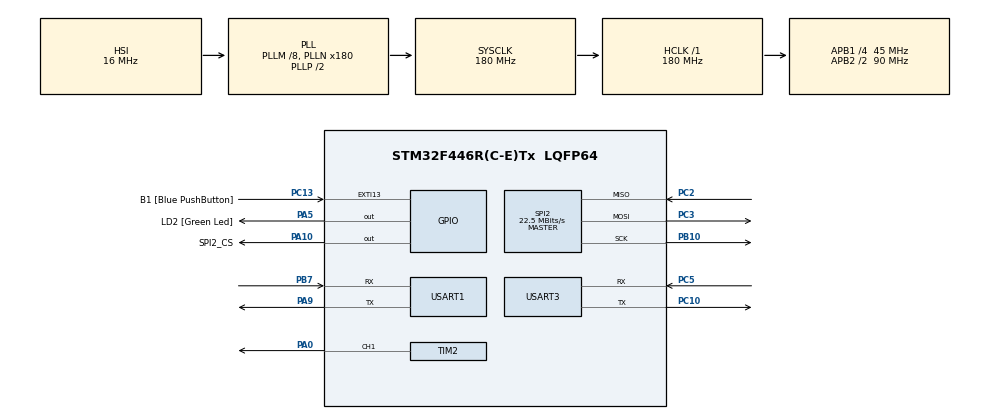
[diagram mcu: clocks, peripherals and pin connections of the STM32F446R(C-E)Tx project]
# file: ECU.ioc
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Dma.Request0=USART1_RX
Dma.Request1=USART3_RX
Dma.USART1_RX.0.Direction=DMA_PERIPH_TO_MEMORY
Dma.USART1_RX.0.FIFOMode=DMA_FIFOMODE_DISABLE
Dma.USART1_RX.0.Instance=DMA2_Stream2
Dma.USART1_RX.0.MemDataAlignment=DMA_MDATAALIGN_BYTE
Dma.USART1_RX.0.MemInc=DMA_MINC_ENABLE
Dma.USART1_RX.0.Mode=DMA_CIRCULAR
Dma.USART1_RX.0.PeriphDataAlignment=DMA_PDATAALIGN_BYTE
Dma.USART1_RX.0.PeriphInc=DMA_PINC_DISABLE
Dma.USART1_RX.0.Priority=DMA_PRIORITY_LOW
Dma.USART3_RX.1.Direction=DMA_PERIPH_TO_MEMORY
Dma.USART3_RX.1.FIFOMode=DMA_FIFOMODE_DISABLE
Dma.USART3_RX.1.Instance=DMA1_Stream1
Dma.USART3_RX.1.MemDataAlignment=DMA_MDATAALIGN_BYTE
Dma.USART3_RX.1.MemInc=DMA_MINC_ENABLE
Dma.USART3_RX.1.Mode=DMA_NORMAL
Dma.USART3_RX.1.PeriphDataAlignment=DMA_PDATAALIGN_BYTE
Dma.USART3_RX.1.PeriphInc=DMA_PINC_DISABLE
Dma.USART3_RX.1.Priority=DMA_PRIORITY_LOW
FREERTOS.Queues01=MAGdata,1,MAGNET,0,Static,MAGdataBuffer,MAGdataControlBlock;RCdata,1,RC,0,Static,RCdataBuffer,RCdataControlBlock
FREERTOS.Tasks01=TMTC,32,128,StartTMTC,Default,NULL,Static,TMTCBuffer,TMTCControlBlock;MAG,40,128,StartMAG,Default,NULL,Static,MAGBuffer,MAGControlBlock;myRC,32,128,StartRC,Default,NULL,Static,myRCBuffer,myRCControlBlock;ECU,8,128,StartECU,Default,NULL,Static,ECUBuffer,ECUControlBlock
FREERTOS.configUSE_NEWLIB_REENTRANT=1
Mcu.Family=STM32F4
Mcu.Name=STM32F446R(C-E)Tx
Mcu.Package=LQFP64
NVIC.DMA1_Stream1_IRQn=true\:5\:0\:false\:false\:true\:true\:false\:true\:true
NVIC.DMA2_Stream2_IRQn=true\:5\:0\:false\:false\:true\:true\:false\:true\:true
NVIC.PriorityGroup=NVIC_PRIORITYGROUP_4
NVIC.TIM1_UP_TIM10_IRQn=true\:15\:0\:false\:false\:true\:false\:false\:true\:true
NVIC.TIM3_IRQn=true\:5\:0\:false\:false\:true\:true\:true\:true\:true
NVIC.TimeBase=TIM1_UP_TIM10_IRQn
NVIC.TimeBaseIP=TIM1
PA0-WKUP.Signal=S_TIM2_CH1_ETR
PA10.GPIO_Label=SPI2_CS
PA10.GPIO_Speed=GPIO_SPEED_FREQ_LOW
PA10.PinState=GPIO_PIN_SET
PA10.Signal=GPIO_Output
PA13.GPIO_Label=TMS
PA13.Mode=Serial_Wire
PA13.Signal=SYS_JTMS-SWDIO
PA14.GPIO_Label=TCK
PA14.Mode=Serial_Wire
PA14.Signal=SYS_JTCK-SWCLK
PA5.GPIO_Label=LD2 [Green Led]
PA5.Signal=GPIO_Output
PA9.Mode=Asynchronous
PA9.Signal=USART1_TX
PB10.GPIO_Speed=GPIO_SPEED_FREQ_LOW
PB10.Mode=Full_Duplex_Master
PB10.Signal=SPI2_SCK
PB7.Mode=Asynchronous
PB7.Signal=USART1_RX
PC10.Mode=Asynchronous
PC10.Signal=USART3_TX
PC13.GPIO_Label=B1 [Blue PushButton]
PC13.GPIO_ModeDefaultEXTI=GPIO_MODE_IT_FALLING
PC13.Signal=GPXTI13
PC14-OSC32_IN.Mode=LSE-External-Oscillator
PC14-OSC32_IN.Signal=RCC_OSC32_IN
PC15-OSC32_OUT.Mode=LSE-External-Oscillator
PC15-OSC32_OUT.Signal=RCC_OSC32_OUT
PC2.GPIO_Speed=GPIO_SPEED_FREQ_LOW
PC2.Mode=Full_Duplex_Master
PC2.Signal=SPI2_MISO
PC3.GPIO_Speed=GPIO_SPEED_FREQ_LOW
PC3.Mode=Full_Duplex_Master
PC3.Signal=SPI2_MOSI
PC5.Mode=Asynchronous
PC5.Signal=USART3_RX
PH0-OSC_IN.Mode=HSE-External-Oscillator
PH0-OSC_IN.Signal=RCC_OSC_IN
PH1-OSC_OUT.Mode=HSE-External-Oscillator
PH1-OSC_OUT.Signal=RCC_OSC_OUT
ProjectManager.HeapSize=0x200
ProjectManager.StackSize=0x400
ProjectManager.TargetToolchain=STM32CubeIDE
RCC.48MHZClocksFreq_Value=84000000
RCC.AHBFreq_Value=180000000
RCC.APB1CLKDivider=RCC_HCLK_DIV4
RCC.APB1Freq_Value=45000000
RCC.APB1TimFreq_Value=90000000
RCC.APB2CLKDivider=RCC_HCLK_DIV2
RCC.APB2Freq_Value=90000000
RCC.APB2TimFreq_Value=180000000
RCC.CortexFreq_Value=180000000
RCC.FLatency-AdvancedSettings=FLASH_LATENCY_5
RCC.HCLKFreq_Value=180000000
RCC.HSE_VALUE=8000000
RCC.HSI_VALUE=16000000
RCC.PLLM=8
RCC.PLLN=180
RCC.SYSCLKFreq_VALUE=180000000
RCC.SYSCLKSource=RCC_SYSCLKSOURCE_PLLCLK
RCC.USBFreq_Value=180000000
RCC.VCOOutputFreq_Value=360000000
SH.S_TIM2_CH1_ETR.0=TIM2_CH1,PWM Generation1 CH1
SPI2.BaudRatePrescaler=SPI_BAUDRATEPRESCALER_2
SPI2.CLKPhase=SPI_PHASE_2EDGE
SPI2.CalculateBaudRate=22.5 MBits/s
SPI2.DataSize=SPI_DATASIZE_16BIT
SPI2.Direction=SPI_DIRECTION_2LINES
SPI2.Mode=SPI_MODE_MASTER
SPI2.VirtualType=VM_MASTER
TIM2.Channel-PWM\ Generation1\ CH1=TIM_CHANNEL_1
TIM2.Period=2500-1
TIM2.Prescaler=180-1
TIM3.Period=100-1
TIM3.Prescaler=18-1
USART1.VirtualMode=VM_ASYNC
USART3.VirtualMode=VM_ASYNC
VP_FREERTOS_VS_CMSIS_V2.Mode=CMSIS_V2
VP_SYS_VS_tim1.Mode=TIM1
VP_TIM3_VS_ClockSourceINT.Mode=Internal
board=NUCLEO-F446RE

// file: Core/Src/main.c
/* USER CODE BEGIN Header */
/**
  ******************************************************************************
  * @file           : main.c
  * @brief          : Main program body
  ******************************************************************************
  * @attention
  *
  * Copyright (c) 2022 STMicroelectronics.
  * All rights reserved.
  *
  * This software is licensed under terms that can be found in the LICENSE file
  * in the root directory of this software component.
  * If no LICENSE file comes with this software, it is provided AS-IS.
  *
  ******************************************************************************
  */
/* USER CODE END Header */
#include "main.h"
#include "cmsis_os.h"

typedef StaticTask_t osStaticThreadDef_t;
typedef StaticQueue_t osStaticMessageQDef_t;

/* USER CODE BEGIN PD */
//#define MOBILE
/* USER CODE END PD */

 SPI_HandleTypeDef hspi2;

TIM_HandleTypeDef htim2;
TIM_HandleTypeDef htim3;

UART_HandleTypeDef huart1;
UART_HandleTypeDef huart3;
DMA_HandleTypeDef hdma_usart1_rx;
DMA_HandleTypeDef hdma_usart3_rx;

/* Definitions for TMTC */
osThreadId_t TMTCHandle;
uint32_t TMTCBuffer[ 128 ];
osStaticThreadDef_t TMTCControlBlock;
const osThreadAttr_t TMTC_attributes = {
  .name = "TMTC",
  .cb_mem = &TMTCControlBlock,
  .cb_size = sizeof(TMTCControlBlock),
  .stack_mem = &TMTCBuffer[0],
  .stack_size = sizeof(TMTCBuffer),
  .priority = (osPriority_t) osPriorityAboveNormal,
};
/* Definitions for MAG */
osThreadId_t MAGHandle;
uint32_t MAGBuffer[ 128 ];
osStaticThreadDef_t MAGControlBlock;
const osThreadAttr_t MAG_attributes = {
  .name = "MAG",
  .cb_mem = &MAGControlBlock,
  .cb_size = sizeof(MAGControlBlock),
  .stack_mem = &MAGBuffer[0],
  .stack_size = sizeof(MAGBuffer),
  .priority = (osPriority_t) osPriorityHigh,
};
/* Definitions for myRC */
osThreadId_t myRCHandle;
uint32_t myRCBuffer[ 128 ];
osStaticThreadDef_t myRCControlBlock;
const osThreadAttr_t myRC_attributes = {
  .name = "myRC",
  .cb_mem = &myRCControlBlock,
  .cb_size = sizeof(myRCControlBlock),
  .stack_mem = &myRCBuffer[0],
  .stack_size = sizeof(myRCBuffer),
  .priority = (osPriority_t) osPriorityAboveNormal,
};
/* Definitions for ECU */
osThreadId_t ECUHandle;
uint32_t ECUBuffer[ 128 ];
osStaticThreadDef_t ECUControlBlock;
const osThreadAttr_t ECU_attributes = {
  .name = "ECU",
  .cb_mem = &ECUControlBlock,
  .cb_size = sizeof(ECUControlBlock),
  .stack_mem = &ECUBuffer[0],
  .stack_size = sizeof(ECUBuffer),
  .priority = (osPriority_t) osPriorityLow,
};
/* Definitions for MAGdata */
osMessageQueueId_t MAGdataHandle;
uint8_t MAGdataBuffer[ 1 * sizeof( MAGNET ) ];
osStaticMessageQDef_t MAGdataControlBlock;
const osMessageQueueAttr_t MAGdata_attributes = {
  .name = "MAGdata",
  .cb_mem = &MAGdataControlBlock,
  .cb_size = sizeof(MAGdataControlBlock),
  .mq_mem = &MAGdataBuffer,
  .mq_size = sizeof(MAGdataBuffer)
};
/* Definitions for RCdata */
osMessageQueueId_t RCdataHandle;
uint8_t RCdataBuffer[ 1 * sizeof( RC ) ];
osStaticMessageQDef_t RCdataControlBlock;
const osMessageQueueAttr_t RCdata_attributes = {
  .name = "RCdata",
  .cb_mem = &RCdataControlBlock,
  .cb_size = sizeof(RCdataControlBlock),
  .mq_mem = &RCdataBuffer,
  .mq_size = sizeof(RCdataBuffer)
};

void SystemClock_Config(void);
static void MX_GPIO_Init(void);
static void MX_DMA_Init(void);
static void MX_USART1_UART_Init(void);
static void MX_TIM2_Init(void);
static void MX_TIM3_Init(void);
static void MX_SPI2_Init(void);
static void MX_USART3_UART_Init(void);
void StartTMTC(void *argument);
void StartMAG(void *argument);
void StartRC(void *argument);
void StartECU(void *argument);

/* USER CODE BEGIN PFP */
float map(float target, float from_min, float from_max, float to_min, float to_max);

/* USER CODE END PFP */

/* USER CODE BEGIN 0 */
volatile unsigned long gTick = 0;

TELEM tx_pack = {0,};
TELEM rx_pack = {0,};

#define MOBILE
/* USER CODE END 0 */

int main(void)
{

  /* MCU Configuration--------------------------------------------------------*/

  /* Reset of all peripherals, Initializes the Flash interface and the Systick. */
  HAL_Init();

  /* Configure the system clock */
  SystemClock_Config();

  /* Initialize all configured peripherals */
  MX_GPIO_Init();
  MX_DMA_Init();
  MX_USART1_UART_Init();
  MX_TIM2_Init();
  MX_TIM3_Init();
  MX_SPI2_Init();
  MX_USART3_UART_Init();

  /* Init scheduler */
  osKernelInitialize();

  /* Create the queue(s) */
  /* creation of MAGdata */
  MAGdataHandle = osMessageQueueNew (1, sizeof(MAGNET), &MAGdata_attributes);

  /* creation of RCdata */
  RCdataHandle = osMessageQueueNew (1, sizeof(RC), &RCdata_attributes);

  /* Create the thread(s) */
  /* creation of TMTC */
  TMTCHandle = osThreadNew(StartTMTC, NULL, &TMTC_attributes);

  /* creation of MAG */
  MAGHandle = osThreadNew(StartMAG, NULL, &MAG_attributes);

  /* creation of myRC */
  myRCHandle = osThreadNew(StartRC, NULL, &myRC_attributes);

  /* creation of ECU */
  ECUHandle = osThreadNew(StartECU, NULL, &ECU_attributes);

  /* Start scheduler */
  osKernelStart();

  /* We should never get here as control is now taken by the scheduler */
  /* Infinite loop */
  while (1)
  {

  }
}

void SystemClock_Config(void)
{
  RCC_OscInitTypeDef RCC_OscInitStruct = {0};
  RCC_ClkInitTypeDef RCC_ClkInitStruct = {0};

  /** Configure the main internal regulator output voltage
  */
  __HAL_RCC_PWR_CLK_ENABLE();
  __HAL_PWR_VOLTAGESCALING_CONFIG(PWR_REGULATOR_VOLTAGE_SCALE1);

  /** Initializes the RCC Oscillators according to the specified parameters
  * in the RCC_OscInitTypeDef structure.
  */
  RCC_OscInitStruct.OscillatorType = RCC_OSCILLATORTYPE_HSI;
  RCC_OscInitStruct.HSIState = RCC_HSI_ON;
  RCC_OscInitStruct.HSICalibrationValue = RCC_HSICALIBRATION_DEFAULT;
  RCC_OscInitStruct.PLL.PLLState = RCC_PLL_ON;
  RCC_OscInitStruct.PLL.PLLSource = RCC_PLLSOURCE_HSI;
  RCC_OscInitStruct.PLL.PLLM = 8;
  RCC_OscInitStruct.PLL.PLLN = 180;
  RCC_OscInitStruct.PLL.PLLP = RCC_PLLP_DIV2;
  RCC_OscInitStruct.PLL.PLLQ = 2;
  RCC_OscInitStruct.PLL.PLLR = 2;
  if (HAL_RCC_OscConfig(&RCC_OscInitStruct) != HAL_OK)
  {
    Error_Handler();
  }

  /** Activate the Over-Drive mode
  */
  if (HAL_PWREx_EnableOverDrive() != HAL_OK)
  {
    Error_Handler();
  }

  /** Initializes the CPU, AHB and APB buses clocks
  */
  RCC_ClkInitStruct.ClockType = RCC_CLOCKTYPE_HCLK|RCC_CLOCKTYPE_SYSCLK
                              |RCC_CLOCKTYPE_PCLK1|RCC_CLOCKTYPE_PCLK2;
  RCC_ClkInitStruct.SYSCLKSource = RCC_SYSCLKSOURCE_PLLCLK;
  RCC_ClkInitStruct.AHBCLKDivider = RCC_SYSCLK_DIV1;
  RCC_ClkInitStruct.APB1CLKDivider = RCC_HCLK_DIV4;
  RCC_ClkInitStruct.APB2CLKDivider = RCC_HCLK_DIV2;

  if (HAL_RCC_ClockConfig(&RCC_ClkInitStruct, FLASH_LATENCY_5) != HAL_OK)
  {
    Error_Handler();
  }
}

static void MX_SPI2_Init(void)
{

  /* SPI2 parameter configuration*/
  hspi2.Instance = SPI2;
  hspi2.Init.Mode = SPI_MODE_MASTER;
  hspi2.Init.Direction = SPI_DIRECTION_2LINES;
  hspi2.Init.DataSize = SPI_DATASIZE_16BIT;
  hspi2.Init.CLKPolarity = SPI_POLARITY_LOW;
  hspi2.Init.CLKPhase = SPI_PHASE_2EDGE;
  hspi2.Init.NSS = SPI_NSS_SOFT;
  hspi2.Init.BaudRatePrescaler = SPI_BAUDRATEPRESCALER_2;
  hspi2.Init.FirstBit = SPI_FIRSTBIT_MSB;
  hspi2.Init.TIMode = SPI_TIMODE_DISABLE;
  hspi2.Init.CRCCalculation = SPI_CRCCALCULATION_DISABLE;
  hspi2.Init.CRCPolynomial = 10;
  if (HAL_SPI_Init(&hspi2) != HAL_OK)
  {
    Error_Handler();
  }

}

static void MX_TIM2_Init(void)
{

  TIM_MasterConfigTypeDef sMasterConfig = {0};
  TIM_OC_InitTypeDef sConfigOC = {0};

  htim2.Instance = TIM2;
  htim2.Init.Prescaler = 180-1;
  htim2.Init.CounterMode = TIM_COUNTERMODE_UP;
  htim2.Init.Period = 2500-1;
  htim2.Init.ClockDivision = TIM_CLOCKDIVISION_DIV1;
  htim2.Init.AutoReloadPreload = TIM_AUTORELOAD_PRELOAD_DISABLE;
  if (HAL_TIM_PWM_Init(&htim2) != HAL_OK)
  {
    Error_Handler();
  }
  sMasterConfig.MasterOutputTrigger = TIM_TRGO_RESET;
  sMasterConfig.MasterSlaveMode = TIM_MASTERSLAVEMODE_DISABLE;
  if (HAL_TIMEx_MasterConfigSynchronization(&htim2, &sMasterConfig) != HAL_OK)
  {
    Error_Handler();
  }
  sConfigOC.OCMode = TIM_OCMODE_PWM1;
  sConfigOC.Pulse = 0;
  sConfigOC.OCPolarity = TIM_OCPOLARITY_HIGH;
  sConfigOC.OCFastMode = TIM_OCFAST_DISABLE;
  if (HAL_TIM_PWM_ConfigChannel(&htim2, &sConfigOC, TIM_CHANNEL_1) != HAL_OK)
  {
    Error_Handler();
  }
  HAL_TIM_MspPostInit(&htim2);

}

static void MX_TIM3_Init(void)
{

  TIM_ClockConfigTypeDef sClockSourceConfig = {0};
  TIM_MasterConfigTypeDef sMasterConfig = {0};

  htim3.Instance = TIM3;
  htim3.Init.Prescaler = 18-1;
  htim3.Init.CounterMode = TIM_COUNTERMODE_UP;
  htim3.Init.Period = 100-1;
  htim3.Init.ClockDivision = TIM_CLOCKDIVISION_DIV1;
  htim3.Init.AutoReloadPreload = TIM_AUTORELOAD_PRELOAD_DISABLE;
  if (HAL_TIM_Base_Init(&htim3) != HAL_OK)
  {
    Error_Handler();
  }
  sClockSourceConfig.ClockSource = TIM_CLOCKSOURCE_INTERNAL;
  if (HAL_TIM_ConfigClockSource(&htim3, &sClockSourceConfig) != HAL_OK)
  {
    Error_Handler();
  }
  sMasterConfig.MasterOutputTrigger = TIM_TRGO_RESET;
  sMasterConfig.MasterSlaveMode = TIM_MASTERSLAVEMODE_DISABLE;
  if (HAL_TIMEx_MasterConfigSynchronization(&htim3, &sMasterConfig) != HAL_OK)
  {
    Error_Handler();
  }
  /* USER CODE BEGIN TIM3_Init 2 */

  HAL_TIM_Base_MspInit(&htim3);
  HAL_TIM_Base_Start_IT(&htim3);

  /* USER CODE END TIM3_Init 2 */

}

static void MX_USART1_UART_Init(void)
{

  huart1.Instance = USART1;
  huart1.Init.BaudRate = 115200;
  huart1.Init.WordLength = UART_WORDLENGTH_8B;
  huart1.Init.StopBits = UART_STOPBITS_1;
  huart1.Init.Parity = UART_PARITY_NONE;
  huart1.Init.Mode = UART_MODE_TX_RX;
  huart1.Init.HwFlowCtl = UART_HWCONTROL_NONE;
  huart1.Init.OverSampling = UART_OVERSAMPLING_16;
  if (HAL_UART_Init(&huart1) != HAL_OK)
  {
    Error_Handler();
  }
  /* USER CODE BEGIN USART1_Init 2 */

#ifdef MOBILE
  HAL_UART_Receive_DMA(&huart1, rx_pack.array, sizeof(Comm_struct)+2);
#else
	HAL_UART_Receive_DMA(&huart1, rx_pack.array, sizeof(Comm_struct));
#endif

  /* USER CODE END USART1_Init 2 */

}

static void MX_USART3_UART_Init(void)
{

  huart3.Instance = USART3;
  huart3.Init.BaudRate = 115200;
  huart3.Init.WordLength = UART_WORDLENGTH_8B;
  huart3.Init.StopBits = UART_STOPBITS_1;
  huart3.Init.Parity = UART_PARITY_NONE;
  huart3.Init.Mode = UART_MODE_TX_RX;
  huart3.Init.HwFlowCtl = UART_HWCONTROL_NONE;
  huart3.Init.OverSampling = UART_OVERSAMPLING_16;
  if (HAL_UART_Init(&huart3) != HAL_OK)
  {
    Error_Handler();
  }
  /* USER CODE BEGIN USART3_Init 2 */

	HAL_UART_Receive_DMA(&huart3,rc_byte_data, 16);

  /* USER CODE END USART3_Init 2 */

}

static void MX_DMA_Init(void)
{

  /* DMA controller clock enable */
  __HAL_RCC_DMA2_CLK_ENABLE();
  __HAL_RCC_DMA1_CLK_ENABLE();

  /* DMA interrupt init */
  /* DMA1_Stream1_IRQn interrupt configuration */
  HAL_NVIC_SetPriority(DMA1_Stream1_IRQn, 5, 0);
  HAL_NVIC_EnableIRQ(DMA1_Stream1_IRQn);
  /* DMA2_Stream2_IRQn interrupt configuration */
  HAL_NVIC_SetPriority(DMA2_Stream2_IRQn, 5, 0);
  HAL_NVIC_EnableIRQ(DMA2_Stream2_IRQn);

}

static void MX_GPIO_Init(void)
{
  GPIO_InitTypeDef GPIO_InitStruct = {0};

  /* GPIO Ports Clock Enable */
  __HAL_RCC_GPIOC_CLK_ENABLE();
  __HAL_RCC_GPIOH_CLK_ENABLE();
  __HAL_RCC_GPIOA_CLK_ENABLE();
  __HAL_RCC_GPIOB_CLK_ENABLE();

  /*Configure GPIO pin Output Level */
  HAL_GPIO_WritePin(LD2_GPIO_Port, LD2_Pin, GPIO_PIN_RESET);

  /*Configure GPIO pin Output Level */
  HAL_GPIO_WritePin(SPI2_CS_GPIO_Port, SPI2_CS_Pin, GPIO_PIN_SET);

  /*Configure GPIO pin : B1_Pin */
  GPIO_InitStruct.Pin = B1_Pin;
  GPIO_InitStruct.Mode = GPIO_MODE_IT_FALLING;
  GPIO_InitStruct.Pull = GPIO_NOPULL;
  HAL_GPIO_Init(B1_GPIO_Port, &GPIO_InitStruct);

  /*Configure GPIO pins : LD2_Pin SPI2_CS_Pin */
  GPIO_InitStruct.Pin = LD2_Pin|SPI2_CS_Pin;
  GPIO_InitStruct.Mode = GPIO_MODE_OUTPUT_PP;
  GPIO_InitStruct.Pull = GPIO_NOPULL;
  GPIO_InitStruct.Speed = GPIO_SPEED_FREQ_LOW;
  HAL_GPIO_Init(GPIOA, &GPIO_InitStruct);

}

/* USER CODE BEGIN 4 */

float map(float target, float from_min, float from_max, float to_min, float to_max){
    float mult = (float)(to_max - to_min) / (float)(from_max - from_min);
    target = target - from_min;
    return to_min + (target * mult);
}

void HAL_UART_RxCpltCallback(UART_HandleTypeDef *huartx){
	if(huartx->Instance == huart1.Instance){
		tx_pack.tx.mode = rx_pack.rx.comm;
#ifdef MOBILE
		HAL_UART_Receive_DMA(&huart1, rx_pack.array, sizeof(Comm_struct)+2);
#else
		HAL_UART_Receive_DMA(&huart1, rx_pack.array, sizeof(Comm_struct));
#endif
	}else if(huartx->Instance == huart3.Instance){
		Spektrum_Read();

		HAL_UART_Receive_DMA(&huart3, rc_byte_data, 16);
	}
}

/* USER CODE END 4 */

void StartTMTC(void *argument)
{
  /* USER CODE BEGIN 5 */
  tx_pack.tx.header = 0xFF;

#ifdef MOBILE
  uint8_t text_buff[100] = {0,};
#endif
  /* Infinite loop */
  for(;;)
  {
#ifdef MOBILE
	sprintf(text_buff, "angle : %f | mode : %f\r\n", tx_pack.tx.angle, tx_pack.tx.mode);

	for(int i = 0; i < sizeof(text_buff); i++){
		if(text_buff[i] == 0) break;
		HAL_UART_Transmit(&huart1, &text_buff[i], 1, 0);
	}

	osDelay(1);
#else
	for(int i = 0; i < sizeof(Telem_struct); i++){
		HAL_UART_Transmit(&huart1, &tx_pack.array[i], 1, HAL_TIMEOUT);
	}
	osDelay(1);
#endif
  }
  /* USER CODE END 5 */
}

void StartMAG(void *argument)
{
  /* USER CODE BEGIN StartMAG */

  MAGNET mag = {0, };

  as5147_Init(&hspi2, SPI2_CS_GPIO_Port, SPI2_CS_Pin);
  as5147_setZeroPosition();
  //setOffset(&mag);

  sens_time = 0;
  sens_start = 0;
  osDelay(1);

  /* Infinite loop */
  for(;;)
  {
	as5147_chip_num = 0;
	sens_time = gTick - sens_start;
	updatePosition(&mag);
	sens_start = gTick;
	osMessageQueuePut(MAGdataHandle, &mag, 0, 0);

	osDelay(1);
  }
  /* USER CODE END StartMAG */
}

void StartRC(void *argument)
{
  /* USER CODE BEGIN StartRC */
  RC rc_cmd = {0, };

  /* Infinite loop */
  for(;;)
  {
	if(rc.channel[THROTTLE].pos != 0){
		rc_cmd.thro = map(rc.channel[THROTTLE].pos, RC_MIN, RC_MAX, PWM_MIN, PWM_MAX);     // thro command 				m/s

		rc_cmd.d_pi = map(rc.channel[AILERON].pos, RC_MIN, RC_MAX, 100, -100);			// d(pi)/dt command			deg/s
		rc_cmd.d_theta = map(rc.channel[ELEVATOR].pos, RC_MIN, RC_MAX, -100, 100);		// d(theta)/dt command		deg/s
		rc_cmd.d_psi = map(rc.channel[RUDDER].pos, RC_MIN, RC_MAX, -100, 100);			// d(psi)/dt command		deg/s

		rc_cmd.pi = map(rc.channel[AILERON].pos, RC_MIN, RC_MAX, 45, -45);			// d(pi)/dt command			deg/s
		rc_cmd.theta = map(rc.channel[ELEVATOR].pos, RC_MIN, RC_MAX, -45, 45);		// d(theta)/dt command		deg/s

		if(SWITCH_POS(rc.channel[AUX1].pos) > 0){
			rc_cmd.arm = 1;
		}
		else{
			rc_cmd.arm = 0;
		}

		rc_cmd.mode = SWITCH_POS(rc.channel[AUX2].pos);

		osMessageQueuePut(RCdataHandle, &rc_cmd, 0, 0);
	}
	osDelay(1);
  }
  /* USER CODE END StartRC */
}

void StartECU(void *argument)
{
  /* USER CODE BEGIN StartECU */
  RC rc_cmd = {0, };

  ECS ecu;
  ecu.safty_arm = 0;
  ecu.state = ECU_OK;

  /* Infinite loop */
  for(;;)
  {
	osMessageQueueGet(RCdataHandle, &rc_cmd, 0, 0);
	tx_pack.tx.throttle = rc_cmd.thro;
	osMessageQueueGet(MAGdataHandle, &ecu.sensor.mag, 0, 0);
	tx_pack.tx.angle = ecu.sensor.mag.shaft_position;

	osDelay(1);
  }
  /* USER CODE END StartECU */
}

void HAL_TIM_PeriodElapsedCallback(TIM_HandleTypeDef *htim)
{
  if (htim->Instance == TIM1) {
    HAL_IncTick();
  }
  /* USER CODE BEGIN Callback 1 */
  if (htim->Instance == TIM3) {
    gTick++;
  }

  /* USER CODE END Callback 1 */
}

void Error_Handler(void)
{
  __disable_irq();
  while (1)
  {
  }
}
